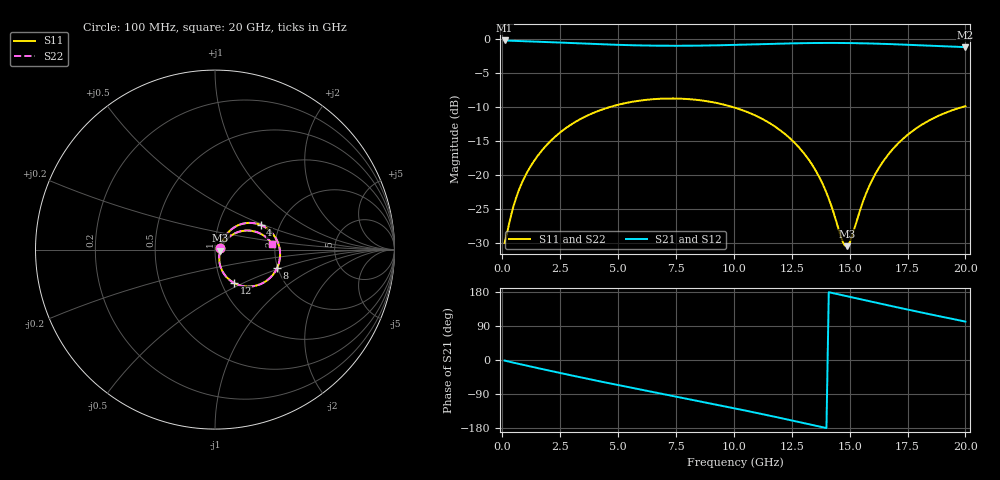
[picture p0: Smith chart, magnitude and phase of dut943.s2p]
! Touchstone file exported from HFSS 2026.1.0
!  File:  C:/ffzhzh/LocalFiles/Ansys_Project_Files/temp_train_TSV_RDL_943_1783282051_38704.aedt
!  Generated:  04:17:36 AM Jul  6, 2026
!  Design:  TSV_RDL
!  Project:  temp_train_TSV_RDL_943_1783282051_38704
! Variables:
!  h_bsmrdl = 5.66um
!  h_ox = 20um
!  h_rdl = 5um
!  h_sub = 55.85um
!  h_tmrdl = 2.06um
!  h_tsv = 55.85um
!  h_via = 3um
!  l_bsmrdl = 493.01um
!  l_sub = 4487.4um
!  l_tmrdl = 621.5um
!  m_sub = 200um
!  pitch = 32.84um
!  r_tsv = 2.46um
!  s_tmrdl = 10um
!  w_bsmrdl = 14.29um
!  w_sub = 500um
!  w_tmrdl = 26.5um
!  x_tsv_center1 = 634.75um
!  x_tsv_center2 = 1142.05um
!  x_tsv_center3 = 1790.05um
!  x_tsv_center4 = 2297.35um
!  x_tsv_center5 = 2945.35um
!  x_tsv_center6 = 3452.65um
# GHz S MA R 50.000000
! Terminal data exported
! Port[1] = TM_RDL1_1_T1
! Port[2] = TM_RDL5_1_T1
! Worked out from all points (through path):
!   200 points, 100 MHz to 20 GHz, reference 50 ohm
!   highest |S21| = -0.27 dB at 100 MHz (marker M1); lowest = -1.2 dB at 20 GHz (marker M2)
!   group delay of S21, straight-line fit = 35.6 ps
!   lowest |S11| = -30.4 dB at 14.9 GHz (marker M3), VSWR 1.06, Z = 53.1 - j0.547 ohm
!   |S11| at or under -10 dB: start of sweep to 4.661 GHz; 9.94 GHz to 19.88 GHz (9.944 GHz wide, 66.7 % of centre)
!   |S22| runs from -30.6 to -8.8 dB; largest |S21 - S12| = 2.7e-14
!   S11 on the Smith chart (normalised r, x): 100 MHz: 1.06, +0.02; 4 GHz: 1.60, +0.48; 8 GHz: 1.99, -0.46; 12 GHz: 1.14, -0.44; 20 GHz: 1.93, +0.14
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0.1  0.03199 18.5  0.9699 -1.5  0.9699 -1.5  0.03199 18.5
! Gamma 0 0 0 0
! Port Impedance 50 0 50 0
0.6  0.06855 50.2  0.9619 -8.7  0.9619 -8.7  0.06862 50.2
1.3  0.1219 52.4  0.9527 -18.2  0.9527 -18.2  0.1219 52.4
2.3  0.1926 45.7  0.939 -31.6  0.939 -31.6  0.1926 45.7
3.5  0.2644 33.7  0.9208 -47.3  0.9208 -47.3  0.2644 33.7
4  0.289 28.3  0.9135 -53.6  0.9135 -53.6  0.289 28.3
5.4  0.3395 12.9  0.8966 -71.0  0.8966 -71.0  0.3396 12.8
6.8  0.3628 -2.7  0.8875 -88.0  0.8875 -88.0  0.3629 -2.7
8  0.3612 -16.0  0.8871 -102.5  0.8871 -102.5  0.3612 -16.1
9.1  0.3421 -28.3  0.8923 -115.9  0.8923 -115.9  0.3421 -28.4
10.1  0.3102 -39.6  0.9006 -128.4  0.9006 -128.4  0.3102 -39.6
12  0.2135 -60.3  0.9194 -152.8  0.9194 -152.8  0.2135 -60.5
12.8  0.1607 -67.8  0.9257 -163.5  0.9257 -163.5  0.1607 -68.0
13.4  0.118 -71.5  0.9288 -171.6  0.9288 -171.6  0.1179 -71.8
14  0.07439 -70.2  0.9303 -179.7  0.9303 -179.7  0.07416 -70.8
14.7  0.03266 -36.2  0.9294 170.8  0.9294 170.8  0.03197 -36.8
14.9  0.03023 -9.8  0.9287 168.0  0.9287 168.0  0.02943 -9.8
15.1  0.03557 13.9  0.9277 165.3  0.9277 165.3  0.03485 14.5
15.8  0.0797 40.4  0.9227 155.8  0.9227 155.8  0.07932 41.0
16.7  0.1439 39.0  0.9129 143.7  0.9129 143.7  0.1437 39.4
18.1  0.2333 26.3  0.8931 125.4  0.8931 125.4  0.2331 26.5
20  0.3203 5.8  0.8665 101.4  0.8665 101.4  0.3202 6.0
